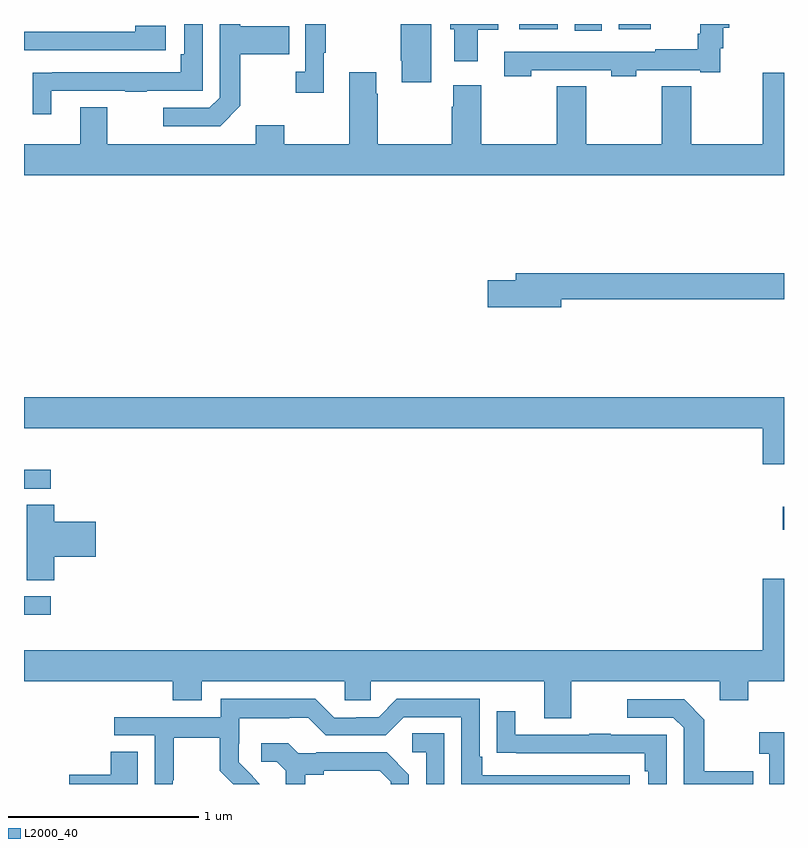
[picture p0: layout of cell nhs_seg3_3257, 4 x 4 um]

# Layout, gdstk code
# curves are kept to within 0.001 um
import gdstk
lib = gdstk.Library(unit=1e-6, precision=1e-09)
def R(c, l, rs):  # rectangles x0, y0, x1, y1
    for r in rs: c.add(gdstk.rectangle(r[:2], r[2:], *l))
def P(c, l, *ps):  # polygons
    for p in ps: c.add(gdstk.Polygon(p, *l))
L2000_40 = (2000, 40)

nhs_seg3_3257 = lib.new_cell('nhs_seg3_3257')
R(nhs_seg3_3257, L2000_40, [(281,677.292,281.14,677.388), (284.994,677.738,285,677.86), (281,677.955,281.14,678.054), (283.898,680.364,284.041,680.4), (283.607,680.372,283.81,680.4), (284.129,680.372,284.299,680.4)])
P(nhs_seg3_3257, L2000_40, [(282.139,679.969),(282.139,680.242),(282.395,680.242),(282.395,680.389),(282.139,680.389),(282.139,680.4),(282.03,680.4),(282.03,680.013),(281.976,679.959),(281.733,679.959),(281.733,679.863),(282.033,679.863)],
  [(282.577,680.249),(282.589,680.249),(282.589,680.4),(282.48,680.4),(282.48,680.15),(282.429,680.15),(282.429,680.037),(282.577,680.037)],
  [(283.387,680.369),(283.495,680.369),(283.495,680.4),(283.244,680.4),(283.244,680.373),(283.265,680.373),(283.265,680.205),(283.387,680.205)],
  [(283.144,680.4),(282.982,680.4),(282.982,680.206),(282.989,680.206),(282.989,680.094),(283.144,680.094)],
  [(281.143,680.049),(281.533,680.049),(281.533,680.044),(281.645,680.044),(281.645,680.049),(281.94,680.049),(281.94,680.4),(281.844,680.4),(281.844,680.242),(281.824,680.242),(281.824,680.145),(281.149,680.145),(281.149,680.144),(281.047,680.144),(281.047,679.926),(281.143,679.926)],
  [(283.671,680.157),(284.091,680.157),(284.091,680.125),(284.223,680.125),(284.223,680.157),(284.558,680.157),(284.558,680.145),(284.664,680.145),(284.664,680.273),(284.681,680.273),(284.681,680.381),(284.711,680.381),(284.711,680.4),(284.56,680.4),(284.56,680.35),(284.545,680.35),(284.545,680.266),(284.323,680.266),(284.323,680.253),(283.527,680.253),(283.527,680.125),(283.671,680.125)],
  [(281.746,680.392),(281.585,680.392),(281.585,680.358),(281,680.358),(281,680.262),(281.746,680.262)],
  [(285,680.143),(284.888,680.143),(284.888,679.768),(284.511,679.768),(284.511,680.072),(284.356,680.072),(284.356,679.768),(283.958,679.768),(283.958,680.072),(283.804,680.072),(283.804,679.768),(283.407,679.768),(283.407,680.077),(283.259,680.077),(283.259,679.964),(283.252,679.964),(283.252,679.768),(282.861,679.768),(282.861,680.033),(282.853,680.033),(282.853,680.146),(282.713,680.146),(282.713,679.768),(282.369,679.768),(282.369,679.867),(282.221,679.867),(282.221,679.768),(281.437,679.768),(281.437,679.963),(281.297,679.963),(281.297,679.768),(281,679.768),(281,679.604),(285,679.604)],
  [(283.828,678.952),(285,678.952),(285,679.088),(283.589,679.088),(283.589,679.052),(283.44,679.052),(283.44,678.91),(283.828,678.91)],
  [(285,678.436),(281,678.436),(281,678.272),(284.888,678.272),(284.888,678.084),(285,678.084)],
  [(281.159,677.597),(281.377,677.597),(281.377,677.78),(281.159,677.78),(281.159,677.87),(281.015,677.87),(281.015,677.473),(281.159,677.473)],
  [(281,676.94),(281.783,676.94),(281.783,676.841),(281.935,676.841),(281.935,676.94),(282.687,676.94),(282.687,676.842),(282.825,676.842),(282.825,676.94),(283.739,676.94),(283.739,676.746),(283.879,676.746),(283.879,676.94),(284.663,676.94),(284.663,676.841),(284.811,676.841),(284.811,676.94),(285,676.94),(285,677.479),(284.888,677.479),(284.888,677.104),(281,677.104)],
  [(281.784,676.42),(281.787,676.42),(281.787,676.644),(282.031,676.644),(282.031,676.469),(282.1,676.4),(282.242,676.4),(282.13,676.514),(282.13,676.611),(282.132,676.611),(282.132,676.745),(282.395,676.745),(282.395,676.749),(282.495,676.749),(282.588,676.656),(282.903,676.656),(282.999,676.752),(283.302,676.752),(283.302,676.4),(284.188,676.4),(284.188,676.446),(283.411,676.446),(283.411,676.543),(283.398,676.543),(283.398,676.848),(282.963,676.848),(282.867,676.752),(282.749,676.752),(282.749,676.749),(282.633,676.749),(282.533,676.849),(282.036,676.849),(282.036,676.752),(281.475,676.752),(281.475,676.656),(281.688,676.656),(281.688,676.4),(281.784,676.4)],
  [(284.837,676.467),(284.581,676.467),(284.581,676.739),(284.475,676.845),(284.175,676.845),(284.175,676.749),(284.418,676.749),(284.472,676.695),(284.472,676.4),(284.837,676.4)],
  [(284.382,676.659),(284.087,676.659),(284.087,676.664),(283.975,676.664),(283.975,676.659),(283.585,676.659),(283.585,676.783),(283.489,676.783),(283.489,676.564),(283.591,676.564),(283.591,676.563),(284.266,676.563),(284.266,676.466),(284.286,676.466),(284.286,676.4),(284.382,676.4)],
  [(285,676.672),(284.871,676.672),(284.871,676.559),(284.922,676.559),(284.922,676.4),(285,676.4)],
  [(283.212,676.667),(283.044,676.667),(283.044,676.566),(283.116,676.566),(283.116,676.4),(283.212,676.4)],
  [(282.481,676.448),(282.577,676.448),(282.577,676.47),(282.872,676.47),(282.929,676.413),(282.929,676.4),(283.026,676.4),(283.026,676.45),(282.91,676.566),(282.538,676.566),(282.538,676.563),(282.444,676.563),(282.392,676.615),(282.249,676.615),(282.249,676.518),(282.33,676.518),(282.377,676.471),(282.377,676.4),(282.481,676.4)],
  [(281.599,676.571),(281.456,676.571),(281.456,676.448),(281.238,676.448),(281.238,676.4),(281.599,676.4)])

lib.write_gds('nhs_seg3_3257.gds')
